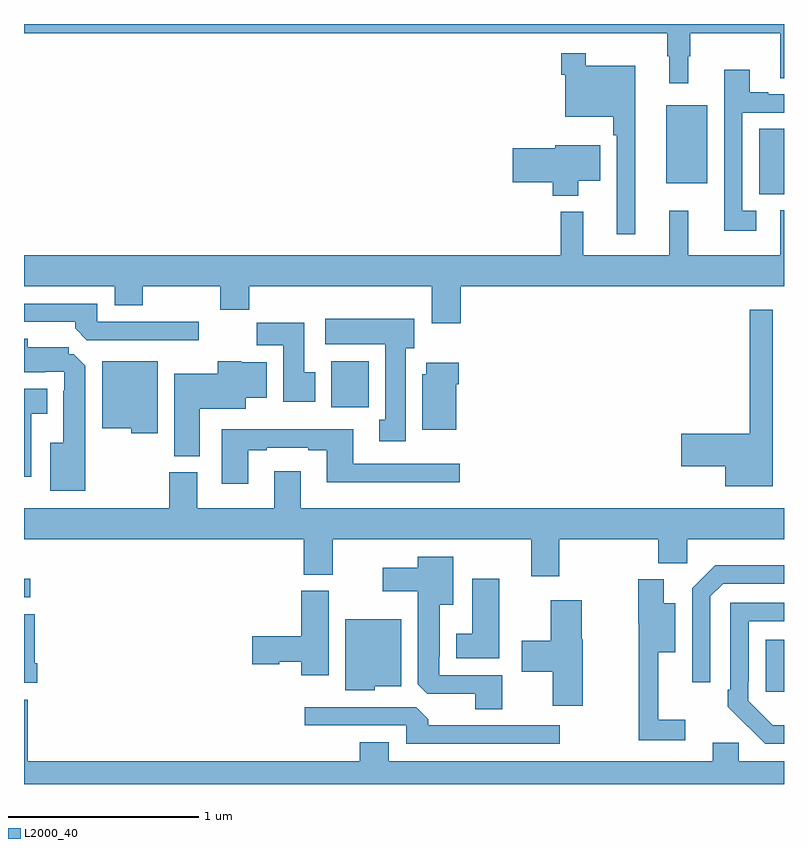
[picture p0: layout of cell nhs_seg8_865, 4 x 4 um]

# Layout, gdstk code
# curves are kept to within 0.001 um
import gdstk
lib = gdstk.Library(unit=1e-6, precision=1e-09)
def R(c, l, rs):  # rectangles x0, y0, x1, y1
    for r in rs: c.add(gdstk.rectangle(r[:2], r[2:], *l))
def P(c, l, *ps):  # polygons
    for p in ps: c.add(gdstk.Polygon(p, *l))
L2000_40 = (2000, 40)

nhs_seg8_865 = lib.new_cell('nhs_seg8_865')
R(nhs_seg8_865, L2000_40, [(170.903,1094.385,171,1094.659), (167,1094.883,167.032,1094.979), (168.617,1095.884,168.814,1096.126), (170.87,1097.005,171,1097.348), (170.381,1097.063,170.596,1097.473)])
P(nhs_seg8_865, L2000_40, [(170.495,1097.729),(170.506,1097.729),(170.506,1097.852),(170.981,1097.852),(170.981,1097.614),(171,1097.614),(171,1097.9),(167,1097.9),(167,1097.852),(170.385,1097.852),(170.385,1097.729),(170.396,1097.729),(170.396,1097.589),(170.495,1097.589)],
  [(170.218,1097.68),(169.957,1097.68),(169.957,1097.746),(169.828,1097.746),(169.828,1097.633),(169.848,1097.633),(169.848,1097.411),(170.101,1097.411),(170.101,1097.315),(170.121,1097.315),(170.121,1096.794),(170.218,1096.794)],
  [(170.854,1096.917),(170.781,1096.917),(170.781,1097.433),(171,1097.433),(171,1097.529),(170.917,1097.529),(170.917,1097.542),(170.821,1097.542),(170.821,1097.659),(170.685,1097.659),(170.685,1096.812),(170.854,1096.812)],
  [(169.918,1097.075),(170.032,1097.075),(170.032,1097.263),(169.796,1097.263),(169.796,1097.246),(169.572,1097.246),(169.572,1097.068),(169.784,1097.068),(169.784,1096.997),(169.918,1096.997)],
  [(169.298,1096.52),(171,1096.52),(171,1096.92),(170.981,1096.92),(170.981,1096.684),(170.495,1096.684),(170.495,1096.918),(170.396,1096.918),(170.396,1096.684),(169.943,1096.684),(169.943,1096.912),(169.825,1096.912),(169.825,1096.684),(167,1096.684),(167,1096.52),(167.477,1096.52),(167.477,1096.421),(167.625,1096.421),(167.625,1096.52),(168.034,1096.52),(168.034,1096.396),(168.185,1096.396),(168.185,1096.52),(169.145,1096.52),(169.145,1096.326),(169.298,1096.326)],
  [(167.92,1096.332),(167.385,1096.332),(167.385,1096.428),(167,1096.428),(167,1096.332),(167.27,1096.332),(167.27,1096.298),(167.331,1096.236),(167.92,1096.236)],
  [(170.941,1096.396),(170.82,1096.396),(170.82,1095.743),(170.46,1095.743),(170.46,1095.572),(170.69,1095.572),(170.69,1095.467),(170.941,1095.467)],
  [(169.009,1096.194),(169.054,1096.194),(169.054,1096.348),(168.585,1096.348),(168.585,1096.214),(168.902,1096.214),(168.902,1095.818),(168.869,1095.818),(168.869,1095.705),(169.009,1095.705)],
  [(168.532,1096.068),(168.475,1096.068),(168.475,1096.327),(168.226,1096.327),(168.226,1096.208),(168.365,1096.208),(168.365,1095.912),(168.532,1095.912)],
  [(167.323,1096.101),(167.263,1096.161),(167.235,1096.161),(167.235,1096.198),(167.02,1096.198),(167.02,1096.243),(167,1096.243),(167,1096.067),(167.111,1096.067),(167.111,1096.071),(167.211,1096.071),(167.211,1095.971),(167.207,1095.971),(167.207,1095.697),(167.138,1095.697),(167.138,1095.443),(167.323,1095.443)],
  [(167.926,1095.875),(168.166,1095.875),(168.166,1095.932),(168.277,1095.932),(168.277,1096.12),(168.144,1096.12),(168.144,1096.126),(168.019,1096.126),(168.019,1096.06),(167.792,1096.06),(167.792,1095.625),(167.926,1095.625)],
  [(167.704,1096.126),(167.411,1096.126),(167.411,1095.773),(167.565,1095.773),(167.565,1095.746),(167.704,1095.746)],
  [(169.276,1096.004),(169.289,1096.004),(169.289,1096.117),(169.118,1096.117),(169.118,1096.056),(169.097,1096.056),(169.097,1095.764),(169.276,1095.764)],
  [(167.038,1095.848),(167.122,1095.848),(167.122,1095.979),(167,1095.979),(167,1095.516),(167.038,1095.516)],
  [(168.181,1095.657),(168.277,1095.657),(168.277,1095.669),(168.497,1095.669),(168.497,1095.657),(168.593,1095.657),(168.593,1095.488),(169.294,1095.488),(169.294,1095.585),(168.733,1095.585),(168.733,1095.766),(168.041,1095.766),(168.041,1095.48),(168.181,1095.48)],
  [(169.818,1095.188),(170.339,1095.188),(170.339,1095.062),(170.49,1095.062),(170.49,1095.188),(171,1095.188),(171,1095.352),(168.457,1095.352),(168.457,1095.547),(168.317,1095.547),(168.317,1095.352),(167.911,1095.352),(167.911,1095.54),(167.764,1095.54),(167.764,1095.352),(167,1095.352),(167,1095.188),(168.473,1095.188),(168.473,1095.001),(168.625,1095.001),(168.625,1095.188),(169.67,1095.188),(169.67,1094.994),(169.818,1094.994)],
  [(169.516,1094.472),(169.185,1094.472),(169.185,1094.569),(169.189,1094.569),(169.189,1094.843),(169.258,1094.843),(169.258,1095.097),(169.073,1095.097),(169.073,1095.037),(168.888,1095.037),(168.888,1094.915),(169.073,1094.915),(169.073,1094.425),(169.122,1094.376),(169.376,1094.376),(169.376,1094.293),(169.516,1094.293)],
  [(170.613,1094.889),(170.679,1094.955),(171,1094.955),(171,1095.052),(170.638,1095.052),(170.517,1094.931),(170.517,1094.436),(170.613,1094.436)],
  [(169.501,1094.98),(169.358,1094.98),(169.358,1094.692),(169.274,1094.692),(169.274,1094.561),(169.501,1094.561)],
  [(170.479,1094.239),(170.339,1094.239),(170.339,1094.594),(170.428,1094.594),(170.428,1094.851),(170.368,1094.851),(170.368,1094.977),(170.233,1094.977),(170.233,1094.747),(170.236,1094.747),(170.236,1094.13),(170.479,1094.13)],
  [(168.604,1094.916),(168.458,1094.916),(168.458,1094.678),(168.201,1094.678),(168.201,1094.531),(168.344,1094.531),(168.344,1094.543),(168.458,1094.543),(168.458,1094.472),(168.604,1094.472)],
  [(169.942,1094.661),(169.935,1094.661),(169.935,1094.866),(169.772,1094.866),(169.772,1094.655),(169.62,1094.655),(169.62,1094.492),(169.784,1094.492),(169.784,1094.313),(169.942,1094.313)],
  [(171,1094.209),(170.94,1094.209),(170.811,1094.337),(170.811,1094.437),(170.814,1094.437),(170.814,1094.757),(171,1094.757),(171,1094.853),(170.718,1094.853),(170.718,1094.395),(170.703,1094.395),(170.703,1094.307),(170.9,1094.112),(171,1094.112)],
  [(167.069,1094.536),(167.056,1094.536),(167.056,1094.794),(167,1094.794),(167,1094.432),(167.069,1094.432)],
  [(168.846,1094.414),(168.985,1094.414),(168.985,1094.767),(168.692,1094.767),(168.692,1094.393),(168.846,1094.393)],
  [(171,1094.02),(170.763,1094.02),(170.763,1094.118),(170.624,1094.118),(170.624,1094.02),(168.919,1094.02),(168.919,1094.119),(168.767,1094.119),(168.767,1094.02),(167.021,1094.02),(167.021,1094.344),(167,1094.344),(167,1093.9),(171,1093.9)],
  [(169.819,1094.208),(169.127,1094.208),(169.127,1094.242),(169.065,1094.304),(168.477,1094.304),(168.477,1094.208),(169.011,1094.208),(169.011,1094.112),(169.819,1094.112)])

lib.write_gds('nhs_seg8_865.gds')
